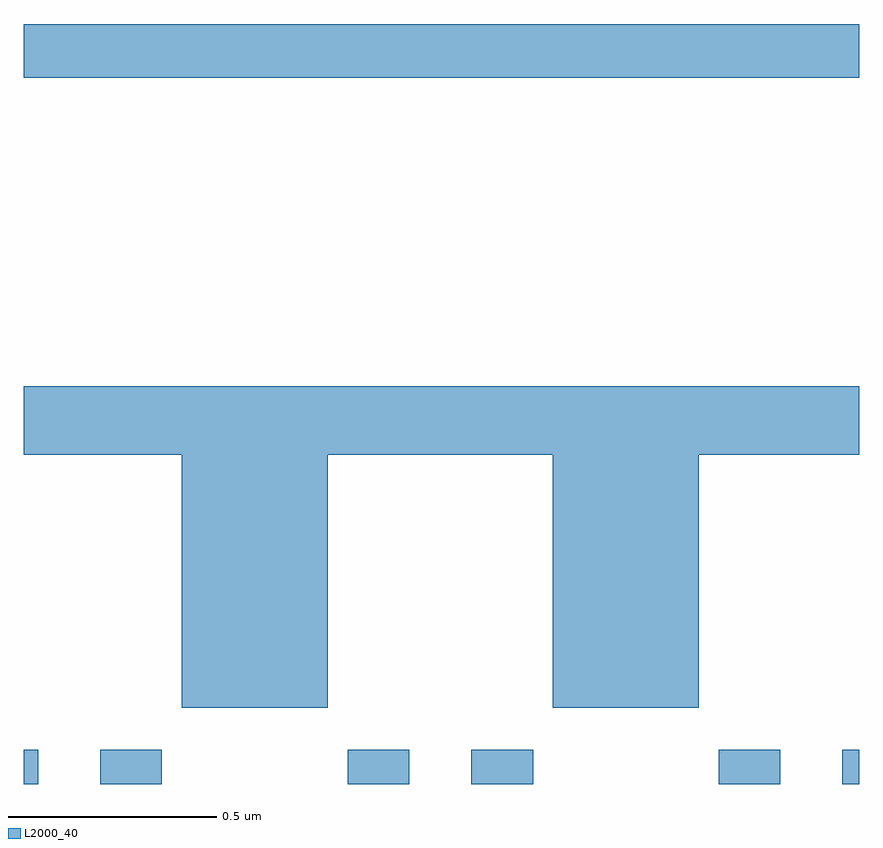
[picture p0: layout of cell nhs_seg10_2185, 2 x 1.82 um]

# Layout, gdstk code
import gdstk
lib = gdstk.Library(unit=1e-6, precision=1e-09)
def R(c, l, rs):  # rectangles x0, y0, x1, y1
    for r in rs: c.add(gdstk.rectangle(r[:2], r[2:], *l))
def P(c, l, *ps):  # polygons
    for p in ps: c.add(gdstk.Polygon(p, *l))
L2000_40 = (2000, 40)

nhs_seg10_2185 = lib.new_cell('nhs_seg10_2185')
R(nhs_seg10_2185, L2000_40, [(137,1327.5,137.035,1327.582), (137.183,1327.5,137.331,1327.582), (137.776,1327.5,137.923,1327.582), (138.071,1327.5,138.219,1327.582), (138.664,1327.5,138.811,1327.582), (138.959,1327.5,139,1327.582), (137,1329.19,139,1329.319)])
P(nhs_seg10_2185, L2000_40, [(137.728,1328.288),(138.266,1328.288),(138.266,1327.682),(138.616,1327.682),(138.616,1328.288),(139,1328.288),(139,1328.452),(137,1328.452),(137,1328.288),(137.378,1328.288),(137.378,1327.682),(137.728,1327.682)])

lib.write_gds('nhs_seg10_2185.gds')
